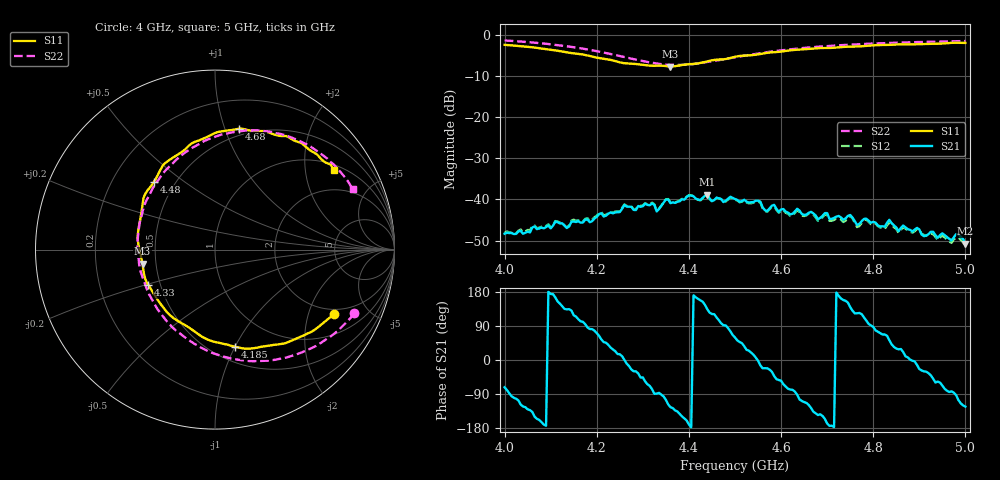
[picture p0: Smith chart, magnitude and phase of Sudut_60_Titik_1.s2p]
# Hz S RI R 50
! CMT, C1220, 16058040, 17.2.0/1
! Date: 15/08/2018 11:31:41
! Data: Format (Calibration Info)
! Freq  S11: Re/Im (F2)  S21: Re/Im (F2)  S12: Re/Im (F2)  S22: Re/Im (F2)
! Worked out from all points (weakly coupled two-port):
!   201 points, 4 GHz to 5 GHz, reference 50 ohm
!   highest |S21| = -38.82 dB at 4.44 GHz (marker M1); lowest = -50.7 dB at 5 GHz (marker M2)
!   lowest |S11| = -7.7 dB at 4.36 GHz (marker M3), VSWR 2.40, Z = 21 - j3.99 ohm
!   |S11| at or under -10 dB: nowhere
!   |S22| runs from -7.4 to -1.4 dB; largest |S21 - S12| = 0.00043
!   S11 on the Smith chart (normalised r, x): 4 GHz: 1.80, -2.98; 4.185 GHz: 0.64, -1.00; 4.33 GHz: 0.43, -0.21; 4.48 GHz: 0.38, +0.39; 4.68 GHz: 0.44, +1.12; 5 GHz: 1.18, +2.85
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4e9  0.6649 -0.3565  0.00119 -0.00365  0.00136 -0.0037  0.7749 -0.3555
4.17e9  0.1631 -0.5516  -0.000977 0.00516  -0.0011 0.00528  0.2733 -0.6199
4.185e9  0.1104 -0.541  0.000764 0.00524  0.000751 0.00541  0.2094 -0.6216
4.26e9  -0.1724 -0.4173  0.00854 6.51e-06  0.00871 -6.9e-05  -0.1173 -0.5232
4.32e9  -0.3495 -0.2328  0.00201 -0.00872  0.00202 -0.0089  -0.332 -0.3126
4.33e9  -0.371 -0.1986  0.000157 -0.00714  -3.7e-05 -0.00726  -0.3558 -0.2702
4.335e9  -0.3811 -0.1809  0.000438 -0.00763  0.000356 -0.00767  -0.3681 -0.2469
4.36e9  -0.4039 -0.0789  -0.00512 -0.0074  -0.00526 -0.00741  -0.4134 -0.1258
4.44e9  -0.4034 0.2513  -0.00791 0.00828  -0.00771 0.00823  -0.3878 0.262
4.48e9  -0.3409 0.3765  -0.000194 0.00966  8.26e-05 0.00946  -0.3 0.4109
4.5e9  -0.3026 0.4466  0.00514 0.00871  0.00512 0.00849  -0.2456 0.4712
4.67e9  0.1151 0.6694  -0.00489 -0.00468  -0.00477 -0.00447  0.2479 0.6636
4.68e9  0.1339 0.6738  -0.00473 -0.00327  -0.00454 -0.00307  0.273 0.6604
4.75e9  0.2895 0.6561  -0.00493 0.00421  -0.00487 0.00397  0.4339 0.6207
4.765e9  0.3219 0.644  -0.00268 0.00408  -0.00253 0.00385  0.4634 0.6096
4.785e9  0.3702 0.6326  -0.00139 0.00567  -0.00144 0.00548  0.5019 0.5902
4.825e9  0.4276 0.6151  0.0018 0.00431  0.00181 0.00396  0.5685 0.5491
4.835e9  0.4461 0.6057  0.00347 0.00446  0.00316 0.00417  0.583 0.5384
4.855e9  0.4781 0.5948  0.00362 0.00194  0.00343 0.00191  0.6129 0.5163
4.97e9  0.6396 0.4761  0.000399 -0.00316  0.000291 -0.00295  0.7431 0.3772
4.985e9  0.6487 0.4666  -0.00104 -0.00363  -0.000884 -0.00334  0.7551 0.3557
5e9  0.6613 0.4432  -0.00158 -0.00244  -0.00136 -0.00234  0.769 0.3358
